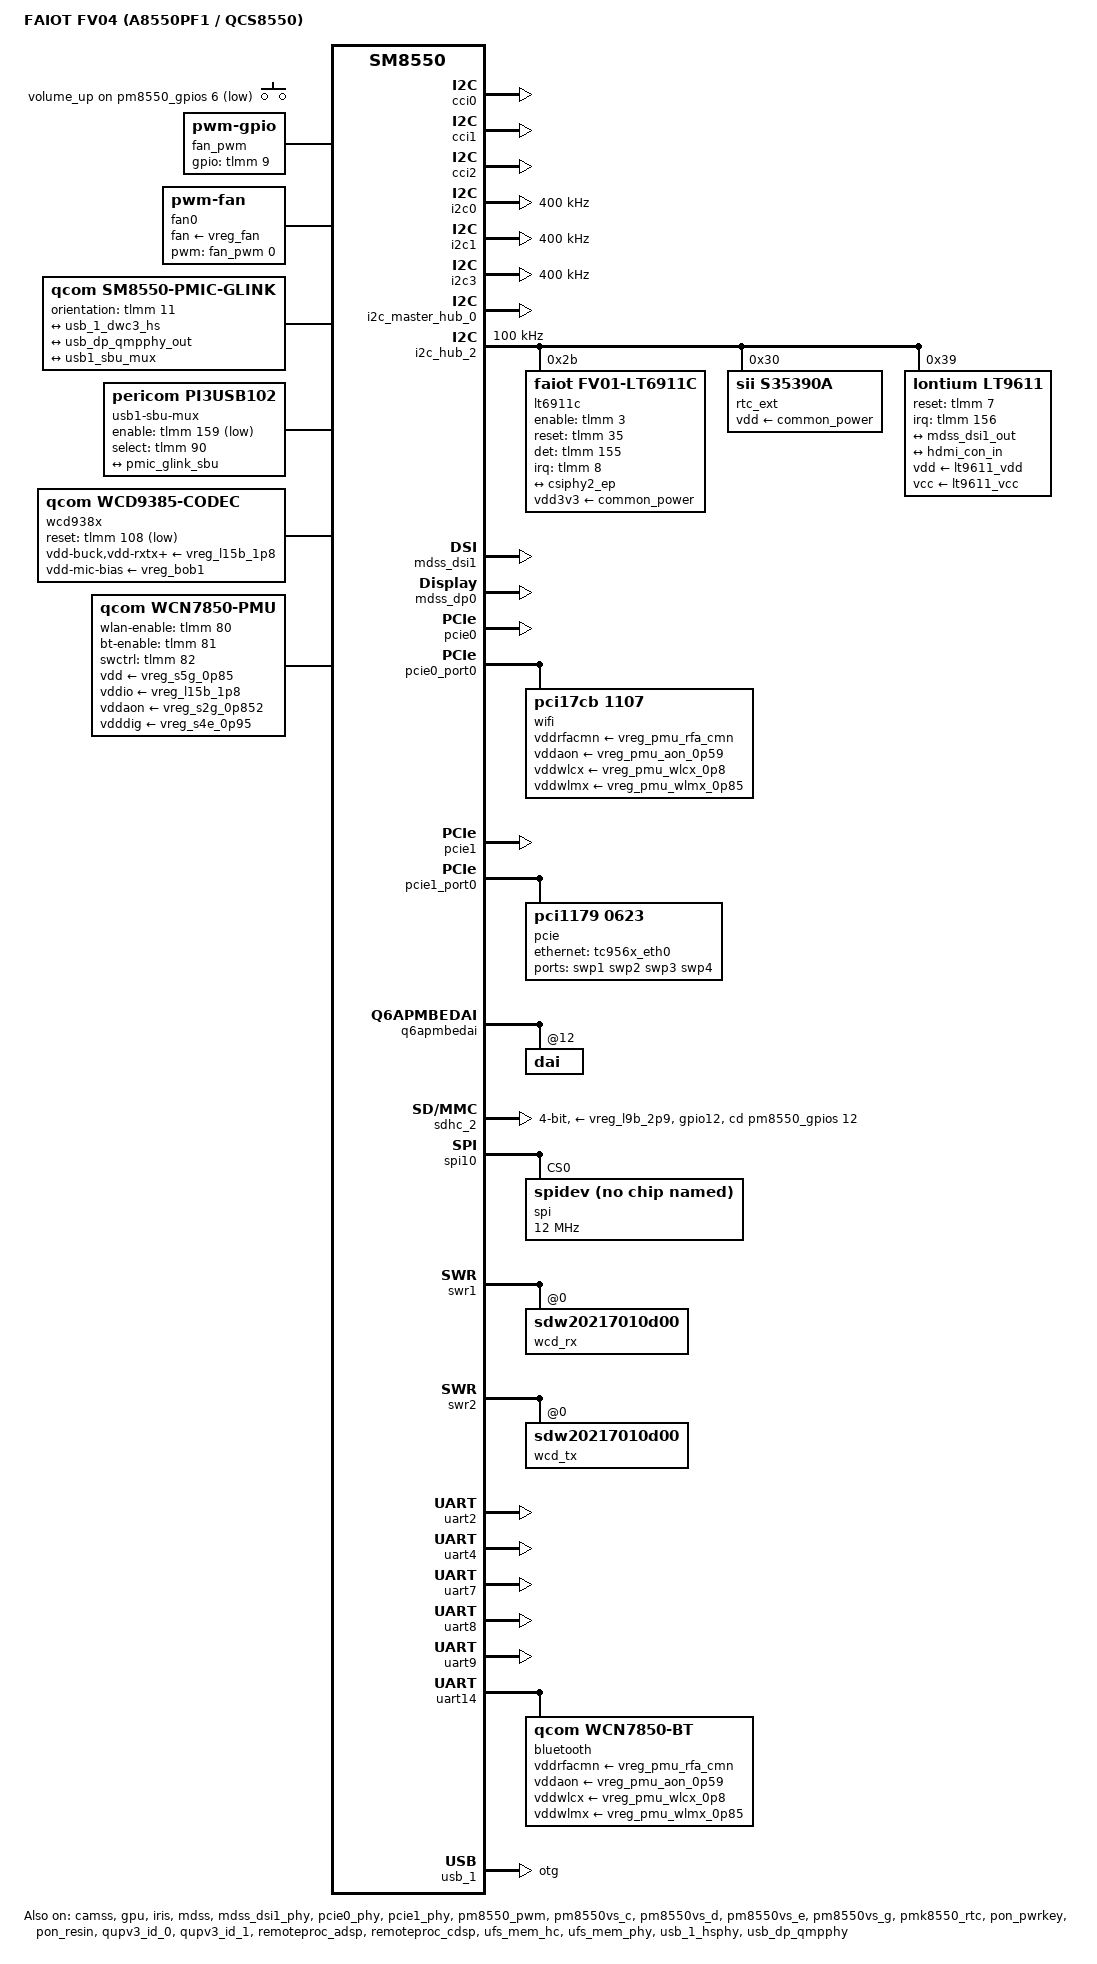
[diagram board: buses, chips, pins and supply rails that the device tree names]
// SPDX-License-Identifier: BSD-3-Clause
/*
 * Device Tree for FAIOT / AidLux FV04 (A8550PF1 bare board / A8550BF1 box)
 * based on Qualcomm QCS8550 (KalamaP, SoC ID 603 / 0x25b).
 */
/dts-v1/;

#include <dt-bindings/gpio/gpio.h>
#include <dt-bindings/input/input.h>
#include <dt-bindings/interrupt-controller/irq.h>
#include <dt-bindings/leds/common.h>
#include <dt-bindings/pinctrl/qcom,pmic-gpio.h>
#include <dt-bindings/regulator/qcom,rpmh-regulator.h>
#include "sm8550.dtsi"
#include "pm8550.dtsi"
#include "pm8550b.dtsi"
#define PMK8550VE_SID 5
#include "pm8550ve.dtsi"
#include "pm8550vs.dtsi"
#include "pmk8550.dtsi"
#include "qcom-fv-common.dtsi"
#include "fv04-memory.dtsi"
#include "fv04-regulators.dtsi"

/ {
	model = "FAIOT FV04 (A8550PF1 / QCS8550)";
	compatible = "faiot,fv04", "qcom,qcs8550", "qcom,sm8550";

	qcom,msm-id = <0x25b 0x20000>;
	qcom,board-id = <0x1001f 0x0>;

	aliases {
		serial0 = &uart7;
		serial1 = &uart14;
		serial2 = &uart2;
		serial3 = &uart4;
		serial4 = &uart8;
		serial5 = &uart9;
		mmc0 = &sdhc_2;
		rtc0 = &rtc_ext;
		rtc1 = &pmk8550_rtc;
	};

	chosen {
		stdout-path = "serial0:115200n8";
	};

	gpio-keys {
		compatible = "gpio-keys";
		label = "gpio-keys";

		pinctrl-names = "default";
		pinctrl-0 = <&volume_up_n>;

		key-volume-up {
			label = "volume_up";
			linux,code = <KEY_VOLUMEUP>;
			gpios = <&pm8550_gpios 6 GPIO_ACTIVE_LOW>;
			debounce-interval = <15>;
			linux,can-disable;
			wakeup-source;
		};
	};

	fan_pwm: pwm-fan-gpio {
		compatible = "pwm-gpio";
		gpios = <&tlmm 9 GPIO_ACTIVE_HIGH>;
		pinctrl-names = "default";
		pinctrl-0 = <&fan_pwm_default>;
		#pwm-cells = <3>;
	};

	fan0: pwm-fan {
		compatible = "pwm-fan";
		pwms = <&fan_pwm 0 1000000 0>;
		fan-supply = <&vreg_fan>;
		#cooling-cells = <2>;
		cooling-levels = <0 51 102 153 204 255>;
	};

	/*
	 * Carrier M.2 Key-M & TC9563 downstream PERST# / PHY tuning sequencer.
	 * Applies FV04's factory TC9563 SerDes/switch register updates over
	 * I2C 0x77 once PCIe1 exits PERST#, releases GPIO1+GPIO2 PERST#
	 * (mask 0x6: Renesas USB3 + M.2 Key-M NVMe), and rescans Buses 03..05.
	 */
	m2-power-ctrl {
		compatible = "faiot,fv04-m2-power-ctrl";
		pinctrl-names = "default";
		pinctrl-0 = <&qps615_wol_default>;
		tc9563-i2c = <&i2c_hub_2 0x77>;
		ep-reset-gpio-mask = <0x6>;
		tc9563-reg-update = <0x82c030 0x1>,
				    <0x828000 0x3>,
				    <0x82bd00 0x8>,
				    <0x82c030 0x2>,
				    <0x828000 0x3>,
				    <0x82bd00 0x8>,
				    <0x82c030 0x8>,
				    <0x828000 0x1>,
				    <0x82bd00 0x8>,
				    <0x82c01c 0x10>,
				    <0x82c030 0xf>,
				    <0x828000 0xf>,
				    <0x82b268 0x2>;
		tc9563-switch-reg-update = <0x82c02c 0x7>,
					   <0x824a10 0x1>,
					   <0x82c030 0x8>,
					   <0x828000 0x1>,
					   <0x82b074 0x20>,
					   <0x82b2bc 0x1>;
	};

	pmic-glink {
		compatible = "qcom,sm8550-pmic-glink", "qcom,pmic-glink";
		#address-cells = <1>;
		#size-cells = <0>;
		orientation-gpios = <&tlmm 11 GPIO_ACTIVE_HIGH>;
		pinctrl-names = "default";
		pinctrl-0 = <&typec_orient_default>;

		connector@0 {
			compatible = "usb-c-connector";
			reg = <0>;
			power-role = "dual";
			data-role = "dual";

			ports {
				#address-cells = <1>;
				#size-cells = <0>;

				port@0 {
					reg = <0>;

					pmic_glink_hs_in: endpoint {
						remote-endpoint = <&usb_1_dwc3_hs>;
					};
				};

				port@1 {
					reg = <1>;

					pmic_glink_ss_in: endpoint {
						remote-endpoint = <&usb_dp_qmpphy_out>;
					};
				};

				port@2 {
					reg = <2>;

					pmic_glink_sbu: endpoint {
						remote-endpoint = <&usb1_sbu_mux>;
					};
				};
			};
		};
	};

	usb1-sbu-mux {
		compatible = "pericom,pi3usb102", "gpio-sbu-mux";

		enable-gpios = <&tlmm 159 GPIO_ACTIVE_LOW>;
		select-gpios = <&tlmm 90 GPIO_ACTIVE_HIGH>;

		pinctrl-names = "default";
		pinctrl-0 = <&typec_sbu_default>;

		mode-switch;
		orientation-switch;

		port {
			usb1_sbu_mux: endpoint {
				remote-endpoint = <&pmic_glink_sbu>;
			};
		};
	};

	wcd938x: audio-codec {
		compatible = "qcom,wcd9385-codec";

		pinctrl-names = "default";
		pinctrl-0 = <&wcd_default>;

		qcom,micbias1-microvolt = <1800000>;
		qcom,micbias2-microvolt = <1800000>;
		qcom,micbias3-microvolt = <1800000>;
		qcom,micbias4-microvolt = <1800000>;
		qcom,mbhc-buttons-vthreshold-microvolt = <75000 150000 237000 500000 500000 500000 500000 500000>;
		qcom,mbhc-headset-vthreshold-microvolt = <1700000>;
		qcom,mbhc-headphone-vthreshold-microvolt = <50000>;
		qcom,rx-device = <&wcd_rx>;
		qcom,tx-device = <&wcd_tx>;

		reset-gpios = <&tlmm 108 GPIO_ACTIVE_LOW>;

		vdd-buck-supply = <&vreg_l15b_1p8>;
		vdd-rxtx-supply = <&vreg_l15b_1p8>;
		vdd-io-supply = <&vreg_l15b_1p8>;
		vdd-mic-bias-supply = <&vreg_bob1>;

		#sound-dai-cells = <1>;
	};

	sound {
		compatible = "qcom,sm8550-sndcard", "qcom,sm8450-sndcard";
		model = "QCS8550-FV04";
		pinctrl-names = "default";
		pinctrl-0 = <&sec_mi2s_active>;
		audio-routing = "IN1_HPHL", "HPHL_OUT",
				"IN2_HPHR", "HPHR_OUT",
				"IN3_AUX", "AUX_OUT",
				"AMIC1", "MIC BIAS1",
				"AMIC2", "MIC BIAS2",
				"AMIC3", "MIC BIAS3",
				"AMIC4", "MIC BIAS3",
				"AMIC5", "MIC BIAS4",
				"TX SWR_INPUT0", "ADC1_OUTPUT",
				"TX SWR_INPUT1", "ADC2_OUTPUT",
				"TX SWR_INPUT0", "ADC3_OUTPUT",
				"TX SWR_INPUT1", "ADC4_OUTPUT";

		wcd-playback-dai-link {
			link-name = "WCD Playback";

			cpu {
				sound-dai = <&q6apmbedai RX_CODEC_DMA_RX_0>;
			};

			codec {
				sound-dai = <&wcd938x 0>, <&swr1 0>, <&lpass_rxmacro 0>;
			};

			platform {
				sound-dai = <&q6apm>;
			};
		};

		wcd-capture-dai-link {
			link-name = "WCD Capture";

			cpu {
				sound-dai = <&q6apmbedai TX_CODEC_DMA_TX_3>;
			};

			codec {
				sound-dai = <&wcd938x 1>, <&swr2 0>, <&lpass_txmacro 0>;
			};

			platform {
				sound-dai = <&q6apm>;
			};
		};

		hdmi-playback-dai-link {
			link-name = "HDMI Playback";

			cpu {
				sound-dai = <&q6apmbedai SECONDARY_MI2S_RX>;
			};

			codec {
				sound-dai = <&lt9611>;
			};

			platform {
				sound-dai = <&q6apm>;
			};
		};

		displayport-0-dai-link {
			link-name = "DisplayPort0 Playback";

			cpu {
				sound-dai = <&q6apmbedai DISPLAY_PORT_RX_0>;
			};

			codec {
				sound-dai = <&mdss_dp0>;
			};

			platform {
				sound-dai = <&q6apm>;
			};
		};
	};

	wcn7850-pmu {
		compatible = "qcom,wcn7850-pmu";

		pinctrl-names = "default";
		pinctrl-0 = <&wlan_en>, <&bt_default>, <&sw_ctrl_default>,
			    <&pmk8550_sleep_clk>;

		wlan-enable-gpios = <&tlmm 80 GPIO_ACTIVE_HIGH>;
		bt-enable-gpios = <&tlmm 81 GPIO_ACTIVE_HIGH>;
		swctrl-gpios = <&tlmm 82 GPIO_ACTIVE_HIGH>;

		vdd-supply = <&vreg_s5g_0p85>;
		vddio-supply = <&vreg_l15b_1p8>;
		vddaon-supply = <&vreg_s2g_0p852>;
		vdddig-supply = <&vreg_s4e_0p95>;
		vddrfa1p2-supply = <&vreg_s4g_1p25>;
		vddrfa1p8-supply = <&vreg_s6g_1p86>;

		regulators {
			vreg_pmu_rfa_cmn: ldo0 {
				regulator-name = "vreg_pmu_rfa_cmn";
			};

			vreg_pmu_aon_0p59: ldo1 {
				regulator-name = "vreg_pmu_aon_0p59";
			};

			vreg_pmu_wlcx_0p8: ldo2 {
				regulator-name = "vreg_pmu_wlcx_0p8";
			};

			vreg_pmu_wlmx_0p85: ldo3 {
				regulator-name = "vreg_pmu_wlmx_0p85";
			};

			vreg_pmu_btcmx_0p85: ldo4 {
				regulator-name = "vreg_pmu_btcmx_0p85";
			};

			vreg_pmu_rfa_0p8: ldo5 {
				regulator-name = "vreg_pmu_rfa_0p8";
			};

			vreg_pmu_rfa_1p2: ldo6 {
				regulator-name = "vreg_pmu_rfa_1p2";
			};

			vreg_pmu_rfa_1p8: ldo7 {
				regulator-name = "vreg_pmu_rfa_1p8";
			};

			vreg_pmu_pcie_0p9: ldo8 {
				regulator-name = "vreg_pmu_pcie_0p9";
			};

			vreg_pmu_pcie_1p8: ldo9 {
				regulator-name = "vreg_pmu_pcie_1p8";
			};
		};
	};

	thermal-zones {
		/delete-node/ cpuss0-thermal;

		/*
		 * Expose CPU subsystem sensor (tsens0 ch1) under the canonical
		 * "cpu-thermal" name so standard Linux monitors detect CPU temp.
		 */
		cpu-thermal {
			polling-delay-passive = <0>;
			polling-delay = <0>;
			thermal-sensors = <&tsens0 1>;

			trips {
				reset-mon-config {
					temperature = <115000>;
					hysteresis = <5000>;
					type = "passive";
				};

				thermal-engine-config {
					temperature = <125000>;
					hysteresis = <1000>;
					type = "critical";
				};
			};
		};

		cpuss1-thermal {
			polling-delay-passive = <250>;
			polling-delay = <1000>;

			trips {
				cpuss1_fan_t0: fan-trip0 {
					temperature = <35000>;
					hysteresis = <10000>;
					type = "active";
				};

				cpuss1_fan_t1: fan-trip1 {
					temperature = <60000>;
					hysteresis = <5000>;
					type = "active";
				};

				cpuss1_fan_t2: fan-trip2 {
					temperature = <70000>;
					hysteresis = <5000>;
					type = "active";
				};

				cpuss1_fan_t3: fan-trip3 {
					temperature = <80000>;
					hysteresis = <5000>;
					type = "active";
				};

				cpuss1_fan_t4: fan-trip4 {
					temperature = <90000>;
					hysteresis = <5000>;
					type = "active";
				};
			};

			cooling-maps {
				map-fan0 {
					trip = <&cpuss1_fan_t0>;
					cooling-device = <&fan0 1 1>;
				};

				map-fan1 {
					trip = <&cpuss1_fan_t1>;
					cooling-device = <&fan0 2 2>;
				};

				map-fan2 {
					trip = <&cpuss1_fan_t2>;
					cooling-device = <&fan0 3 3>;
				};

				map-fan3 {
					trip = <&cpuss1_fan_t3>;
					cooling-device = <&fan0 4 4>;
				};

				map-fan4 {
					trip = <&cpuss1_fan_t4>;
					cooling-device = <&fan0 5 5>;
				};
			};
		};

		xo-thermal {
			thermal-sensors = <&pmk8550_vadc ADC5_GEN3_AMUX1_THM_100K_PU(0)>;

			trips {
				trip-point0 {
					temperature = <125000>;
					hysteresis = <1000>;
					type = "passive";
				};
			};
		};

		skin-msm-thermal {
			thermal-sensors = <&pmk8550_vadc ADC5_GEN3_AMUX1_THM_100K_PU(1)>;

			trips {
				trip-point0 {
					temperature = <125000>;
					hysteresis = <1000>;
					type = "passive";
				};
			};
		};

		wlan-thermal {
			thermal-sensors = <&pmk8550_vadc ADC5_GEN3_AMUX3_THM_100K_PU(1)>;

			trips {
				trip-point0 {
					temperature = <125000>;
					hysteresis = <1000>;
					type = "passive";
				};
			};
		};

		usb-thermal {
			thermal-sensors = <&pmk8550_vadc ADC5_GEN3_AMUX4_THM_100K_PU(7)>;

			trips {
				trip-point0 {
					temperature = <125000>;
					hysteresis = <1000>;
					type = "passive";
				};
			};
		};
	};
};

&camss {
	vdda-phy-supply = <&vreg_l1e_0p88>;
	vdda-pll-supply = <&vreg_l3e_1p2>;
	status = "okay";

	ports {
		port@2 {
			reg = <2>;
			#address-cells = <1>;
			#size-cells = <0>;

			csiphy2_ep: endpoint@0 {
				reg = <0>;
				clock-lanes = <7>;
				data-lanes = <0 1 2 3>;
				remote-endpoint = <&lt6911c_ep>;
			};
		};
	};
};

&cci0 {
	status = "okay";
};

&cci1 {
	status = "okay";
};

&cci2 {
	status = "okay";
};

&crypto {
	status = "disabled";
};

&cryptobam {
	status = "disabled";
};

&gpi_dma1 {
	status = "okay";
};

&gpi_dma2 {
	status = "okay";
};

&hdmi_con_in {
	remote-endpoint = <&lt9611_out>;
};

&gpu {
	status = "okay";
};

&gpu_zap_shader {
	firmware-name = "qcom/qcs8550/a740_zap.mbn";
};

&i2c0 {
	clock-frequency = <400000>;
	/delete-property/ dmas;
	/delete-property/ dma-names;
	status = "okay";
};

&i2c1 {
	clock-frequency = <400000>;
	/delete-property/ dmas;
	/delete-property/ dma-names;
	status = "okay";
};

&i2c3 {
	clock-frequency = <400000>;
	/delete-property/ dmas;
	/delete-property/ dma-names;
	status = "okay";
};

&i2c_master_hub_0 {
	status = "okay";
};

&i2c_hub_2 {
	clock-frequency = <100000>;
	status = "okay";

	lt6911c: hdmi-bridge@2b {
		compatible = "faiot,fv01-lt6911c", "lontium,lt6911uxc";
		reg = <0x2b>;
		vdd3v3-supply = <&common_power>;
		enable-gpios = <&tlmm 3 GPIO_ACTIVE_HIGH>;
		reset-gpios = <&tlmm 35 GPIO_ACTIVE_HIGH>;
		det-gpios = <&tlmm 155 GPIO_ACTIVE_HIGH>;
		irq-gpios = <&tlmm 8 GPIO_ACTIVE_HIGH>;
		pinctrl-names = "default";
		pinctrl-0 = <&lt6911c_default>;

		port {
			lt6911c_ep: endpoint {
				bus-type = <4>;
				data-lanes = <1 2 3 4>;
				link-frequencies = /bits/ 64 <297000000 148500000 594000000>;
				remote-endpoint = <&csiphy2_ep>;
			};
		};
	};

	rtc_ext: rtc@30 {
		compatible = "sii,s35390a";
		reg = <0x30>;
		vdd-supply = <&common_power>;
	};

	lt9611: hdmi-bridge@39 {
		compatible = "lontium,lt9611";
		reg = <0x39>;
		vdd-supply = <&lt9611_vdd>;
		vcc-supply = <&lt9611_vcc>;
		reset-gpios = <&tlmm 7 GPIO_ACTIVE_HIGH>;
		interrupts-extended = <&tlmm 156 IRQ_TYPE_EDGE_FALLING>;
		pinctrl-names = "default";
		pinctrl-0 = <&lt9611_rst_default>, <&lt9611_irq_default>;
		#sound-dai-cells = <0>;

		ports {
			#address-cells = <1>;
			#size-cells = <0>;

			port@0 {
				reg = <0>;

				lt9611_in: endpoint {
					remote-endpoint = <&mdss_dsi1_out>;
				};
			};

			port@2 {
				reg = <2>;

				lt9611_out: endpoint {
					remote-endpoint = <&hdmi_con_in>;
				};
			};
		};
	};
};

/*
 * QCS8550 is a Wi-Fi-only IoT/compute variant without a cellular modem (MPSS).
 * Keep IPA and modem SMP2P disabled so 3f40000.ipa does not block qnoc-sm8550
 * sync_state(), while retaining rmtfs_mem's no-map carveout without probing a
 * platform device.
 */
/ {
	smp2p-modem {
		status = "disabled";
	};
};

&ipa {
	status = "disabled";
};

&rmtfs_mem {
	/delete-property/ compatible;
};

&iris {
	firmware-name = "qcom/qcs8550/vpu30_4v.mbn";
	status = "okay";
};

&mdss {
	status = "okay";
};

&mdss_dsi1 {
	vdda-supply = <&vreg_l3e_1p2>;
	status = "okay";
};

&mdss_dsi1_out {
	remote-endpoint = <&lt9611_in>;
	data-lanes = <0 1 2 3>;
};

&mdss_dsi1_phy {
	vdds-supply = <&vreg_l1e_0p88>;
	status = "okay";
};

&mdss_dp0 {
	status = "okay";
};

&pcie0 {
	wake-gpios = <&tlmm 96 GPIO_ACTIVE_HIGH>;
	perst-gpios = <&tlmm 94 GPIO_ACTIVE_LOW>;

	pinctrl-0 = <&pcie0_default_state>;
	pinctrl-names = "default";

	iommu-map = <0x0 &apps_smmu 0x1400 0x1>,
		    <0x100 &apps_smmu 0x1401 0x1>;

	/delete-property/ msi-map;

	status = "okay";
};

&pcie0_phy {
	vdda-phy-supply = <&vreg_l1e_0p88>;
	vdda-pll-supply = <&vreg_l3e_1p2>;

	status = "okay";
};

&pcie0_port0 {
	wifi@0 {
		compatible = "pci17cb,1107";
		reg = <0x10000 0x0 0x0 0x0 0x0>;

		vddrfacmn-supply = <&vreg_pmu_rfa_cmn>;
		vddaon-supply = <&vreg_pmu_aon_0p59>;
		vddwlcx-supply = <&vreg_pmu_wlcx_0p8>;
		vddwlmx-supply = <&vreg_pmu_wlmx_0p85>;
		vddrfa0p8-supply = <&vreg_pmu_rfa_0p8>;
		vddrfa1p2-supply = <&vreg_pmu_rfa_1p2>;
		vddrfa1p8-supply = <&vreg_pmu_rfa_1p8>;
		vddpcie0p9-supply = <&vreg_pmu_pcie_0p9>;
		vddpcie1p8-supply = <&vreg_pmu_pcie_1p8>;
	};
};

&pcie1 {
	vddpe-3v3-supply = <&usb_hub_rest_vreg>;

	wake-gpios = <&tlmm 99 GPIO_ACTIVE_HIGH>;
	perst-gpios = <&tlmm 97 GPIO_ACTIVE_LOW>;

	pinctrl-0 = <&pcie1_default_state>;
	pinctrl-names = "default";

	iommu-map = <0x0 &apps_smmu 0x1480 0x1>,
		    <0x100 &apps_smmu 0x1481 0x1>,
		    <0x208 &apps_smmu 0x1482 0x1>,
		    <0x210 &apps_smmu 0x1483 0x1>,
		    <0x218 &apps_smmu 0x1484 0x1>,
		    <0x300 &apps_smmu 0x1487 0x1>,
		    <0x400 &apps_smmu 0x1488 0x1>,
		    <0x500 &apps_smmu 0x148c 0x1>,
		    <0x501 &apps_smmu 0x148e 0x1>;

	/delete-property/ msi-map;

	status = "okay";
};

&pcie1_phy {
	vdda-phy-supply = <&vreg_l3c_0p9>;
	vdda-pll-supply = <&vreg_l3e_1p2>;
	vdda-qref-supply = <&vreg_l1e_0p88>;

	status = "okay";
};

&pcie1_port0 {
	pcie@0,0 {
		compatible = "pci1179,0623";
		reg = <0x10000 0x0 0x0 0x0 0x0>;
		#address-cells = <3>;
		#size-cells = <2>;
		device_type = "pci";
		ranges;
		bus-range = <0x2 0xff>;

		/* DSP1 -> Bus 03: M.2 Key-M 2280 NVMe SSD */
		pcie@1,0 {
			reg = <0x20800 0x0 0x0 0x0 0x0>;
			#address-cells = <3>;
			#size-cells = <2>;
			device_type = "pci";
			ranges;
			bus-range = <0x3 0x3>;
		};

		/* DSP2 -> Bus 04: Renesas uPD720201 USB 3.0 xHCI */
		pcie@2,0 {
			reg = <0x21000 0x0 0x0 0x0 0x0>;
			#address-cells = <3>;
			#size-cells = <2>;
			device_type = "pci";
			ranges;
			bus-range = <0x4 0x4>;
		};

		/* DSP3 -> Bus 05: Toshiba TC956x MAC0 + QCA8337 5x GbE DSA */
		pcie@3,0 {
			reg = <0x21800 0x0 0x0 0x0 0x0>;
			#address-cells = <3>;
			#size-cells = <2>;
			device_type = "pci";
			ranges;
			bus-range = <0x5 0xff>;

			tc956x_eth0: ethernet@0,0 {
				compatible = "pci1179,0220";
				reg = <0x50000 0x0 0x0 0x0 0x0>;
				phy-mode = "sgmii";

				fixed-link {
					speed = <1000>;
					full-duplex;
				};

				mdio {
					#address-cells = <1>;
					#size-cells = <0>;

					switch@10 {
						compatible = "qca,qca8337";
						reg = <0x10>;

						mdio {
							#address-cells = <1>;
							#size-cells = <0>;

							qca8337_phy0: ethernet-phy@0 {
								reg = <0>;
							};

							qca8337_phy1: ethernet-phy@1 {
								reg = <1>;
							};

							qca8337_phy2: ethernet-phy@2 {
								reg = <2>;
							};

							qca8337_phy3: ethernet-phy@3 {
								reg = <3>;
							};

							qca8337_phy4: ethernet-phy@4 {
								reg = <4>;
							};
						};

						ports {
							#address-cells = <1>;
							#size-cells = <0>;

							port@0 {
								reg = <0>;
								ethernet = <&tc956x_eth0>;
								phy-mode = "sgmii";
								qca,sgmii-rxclk-falling-edge;
								qca,sgmii-enable-pll;

								fixed-link {
									speed = <1000>;
									full-duplex;
								};
							};

							port@1 {
								reg = <1>;
								label = "swp1";
								phy-handle = <&qca8337_phy0>;
								phy-mode = "internal";

								leds {
									#address-cells = <1>;
									#size-cells = <0>;

									led@0 {
										reg = <0>;
										color = <LED_COLOR_ID_AMBER>;
										function = LED_FUNCTION_WAN;
										default-state = "keep";
										linux,default-trigger = "netdev";
									};

									led@1 {
										reg = <1>;
										color = <LED_COLOR_ID_GREEN>;
										function = LED_FUNCTION_WAN;
										default-state = "keep";
										linux,default-trigger = "netdev";
									};
								};
							};

							port@2 {
								reg = <2>;
								label = "swp2";
								phy-handle = <&qca8337_phy1>;
								phy-mode = "internal";

								leds {
									#address-cells = <1>;
									#size-cells = <0>;

									led@0 {
										reg = <0>;
										color = <LED_COLOR_ID_AMBER>;
										function = LED_FUNCTION_LAN;
										default-state = "keep";
										linux,default-trigger = "netdev";
									};

									led@1 {
										reg = <1>;
										color = <LED_COLOR_ID_GREEN>;
										function = LED_FUNCTION_LAN;
										default-state = "keep";
										linux,default-trigger = "netdev";
									};
								};
							};

							/* Unwired internal PHY2 (no physical RJ45 jack on FV04) */
							port@3 {
								reg = <3>;
								phy-handle = <&qca8337_phy2>;
								phy-mode = "internal";
								status = "disabled";
							};

							port@4 {
								reg = <4>;
								label = "swp3";
								phy-handle = <&qca8337_phy3>;
								phy-mode = "internal";

								leds {
									#address-cells = <1>;
									#size-cells = <0>;

									led@0 {
										reg = <0>;
										color = <LED_COLOR_ID_AMBER>;
										function = LED_FUNCTION_LAN;
										default-state = "keep";
										linux,default-trigger = "netdev";
									};

									led@1 {
										reg = <1>;
										color = <LED_COLOR_ID_GREEN>;
										function = LED_FUNCTION_LAN;
										default-state = "keep";
										linux,default-trigger = "netdev";
									};
								};
							};

							port@5 {
								reg = <5>;
								label = "swp4";
								phy-handle = <&qca8337_phy4>;
								phy-mode = "internal";

								leds {
									#address-cells = <1>;
									#size-cells = <0>;

									led@0 {
										reg = <0>;
										color = <LED_COLOR_ID_AMBER>;
										function = LED_FUNCTION_LAN;
										default-state = "keep";
										linux,default-trigger = "netdev";
									};

									led@1 {
										reg = <1>;
										color = <LED_COLOR_ID_GREEN>;
										function = LED_FUNCTION_LAN;
										default-state = "keep";
										linux,default-trigger = "netdev";
									};
								};
							};
						};
					};
				};
			};

			ethernet@0,1 {
				compatible = "pci1179,0220";
				reg = <0x50100 0x0 0x0 0x0 0x0>;
				status = "disabled";
			};
		};
	};
};

&pm8550_gpios {
	sdc2_card_det_n: sdc2-card-det-state {
		pins = "gpio12";
		function = "normal";
		input-enable;
		output-disable;
		bias-pull-up;
		power-source = <1>;
	};

	volume_up_n: volume-up-n-state {
		pins = "gpio6";
		function = "normal";
		power-source = <1>;
		bias-pull-up;
		input-enable;
	};
};

/*
 * Status RGB LEDs matching FV04 /etc/rc.local sysfs paths
 * (/sys/class/leds/{red,green,blue}/{brightness,breath}).
 */
&pm8550_pwm {
	#address-cells = <1>;
	#size-cells = <0>;
	status = "okay";

	led@1 {
		reg = <1>;
		label = "red";
		color = <LED_COLOR_ID_RED>;
		default-state = "off";
	};

	led@2 {
		reg = <2>;
		label = "green";
		color = <LED_COLOR_ID_GREEN>;
		default-state = "off";
	};

	led@3 {
		reg = <3>;
		label = "blue";
		color = <LED_COLOR_ID_BLUE>;
		default-state = "off";
	};
};

&pm8550_temp_alarm {
	io-channels = <&pmk8550_vadc ADC5_GEN3_DIE_TEMP(1)>;
	io-channel-names = "thermal";
};

&pm8550b_eusb2_repeater {
	vdd18-supply = <&vreg_l15b_1p8>;
	vdd3-supply = <&vreg_l5b_3p1>;
};

&pm8550b_temp_alarm {
	io-channels = <&pmk8550_vadc ADC5_GEN3_DIE_TEMP(7)>;
	io-channel-names = "thermal";
};

&pm8550vs_c {
	status = "okay";
};

&pm8550vs_c_temp_alarm {
	io-channels = <&pmk8550_vadc ADC5_GEN3_DIE_TEMP(2)>;
	io-channel-names = "thermal";
};

&pm8550vs_d {
	status = "okay";
};

&pm8550vs_d_temp_alarm {
	io-channels = <&pmk8550_vadc ADC5_GEN3_DIE_TEMP(3)>;
	io-channel-names = "thermal";
};

&pm8550vs_e {
	status = "okay";
};

&pm8550vs_e_temp_alarm {
	io-channels = <&pmk8550_vadc ADC5_GEN3_DIE_TEMP(4)>;
	io-channel-names = "thermal";
};

&pm8550vs_g {
	status = "okay";
};

&pm8550vs_g_temp_alarm {
	io-channels = <&pmk8550_vadc ADC5_GEN3_DIE_TEMP(6)>;
	io-channel-names = "thermal";
};

&pm8550ve_temp_alarm {
	io-channels = <&pmk8550_vadc ADC5_GEN3_DIE_TEMP(PMK8550VE_SID)>;
	io-channel-names = "thermal";
};

&pmk8550_gpios {
	pmk8550_sleep_clk: sleep-clk-state {
		pins = "gpio3";
		function = "func1";
		input-disable;
		output-enable;
		bias-disable;
		power-source = <0>;
	};
};

&pmk8550_rtc {
	status = "okay";
};

&pmk8550_vadc {
	channel@44 {
		reg = <ADC5_GEN3_AMUX1_THM_100K_PU(0)>;
		label = "pmk8550_xo_therm";
		qcom,ratiometric;
		qcom,hw-settle-time = <200>;
		qcom,pre-scaling = <1 1>;
		qcom,adc-tm;
	};

	channel@100 {
		reg = <ADC5_GEN3_REF_GND(1)>;
		label = "pm8550_offset_ref";
		qcom,pre-scaling = <1 1>;
	};

	channel@101 {
		reg = <ADC5_GEN3_1P25VREF(1)>;
		label = "pm8550_vref_1p25";
		qcom,pre-scaling = <1 1>;
	};

	channel@103 {
		reg = <ADC5_GEN3_DIE_TEMP(1)>;
		label = "pm8550_die_temp";
		qcom,pre-scaling = <1 1>;
	};

	channel@144 {
		reg = <ADC5_GEN3_AMUX1_THM_100K_PU(1)>;
		label = "pm8550_msm_therm";
		qcom,ratiometric;
		qcom,hw-settle-time = <200>;
		qcom,pre-scaling = <1 1>;
		qcom,adc-tm;
	};

	channel@146 {
		reg = <ADC5_GEN3_AMUX3_THM_100K_PU(1)>;
		label = "pm8550_wlan_therm";
		qcom,ratiometric;
		qcom,hw-settle-time = <200>;
		qcom,pre-scaling = <1 1>;
		qcom,adc-tm;
	};

	channel@18e {
		reg = <ADC5_GEN3_VPH_PWR(1)>;
		label = "pm8550_vph_pwr";
		qcom,pre-scaling = <1 3>;
	};

	channel@203 {
		reg = <ADC5_GEN3_DIE_TEMP(2)>;
		label = "pm8550vs_c_die_temp";
		qcom,pre-scaling = <1 1>;
	};

	channel@303 {
		reg = <ADC5_GEN3_DIE_TEMP(3)>;
		label = "pm8550vs_d_die_temp";
		qcom,pre-scaling = <1 1>;
	};

	channel@403 {
		reg = <ADC5_GEN3_DIE_TEMP(4)>;
		label = "pm8550vs_e_die_temp";
		qcom,pre-scaling = <1 1>;
	};

	channel@503 {
		reg = <ADC5_GEN3_DIE_TEMP(PMK8550VE_SID)>;
		label = "pm8550ve_die_temp";
		qcom,pre-scaling = <1 1>;
	};

	channel@603 {
		reg = <ADC5_GEN3_DIE_TEMP(6)>;
		label = "pm8550vs_g_die_temp";
		qcom,pre-scaling = <1 1>;
	};

	channel@700 {
		reg = <ADC5_GEN3_REF_GND(7)>;
		label = "pm8550b_offset_ref";
		qcom,pre-scaling = <1 1>;
	};

	channel@701 {
		reg = <ADC5_GEN3_1P25VREF(7)>;
		label = "pm8550b_vref_1p25";
		qcom,pre-scaling = <1 1>;
	};

	channel@703 {
		reg = <ADC5_GEN3_DIE_TEMP(7)>;
		label = "pm8550b_die_temp";
		qcom,pre-scaling = <1 1>;
	};

	channel@747 {
		reg = <ADC5_GEN3_AMUX4_THM_100K_PU(7)>;
		label = "pm8550b_usb_therm";
		qcom,ratiometric;
		qcom,hw-settle-time = <200>;
		qcom,pre-scaling = <1 1>;
		qcom,adc-tm;
	};

	channel@78e {
		reg = <ADC5_GEN3_VPH_PWR(7)>;
		label = "pm8550b_vph_pwr";
		qcom,pre-scaling = <1 3>;
	};
};

&pon_pwrkey {
	status = "okay";
};

&pon_resin {
	linux,code = <KEY_VOLUMEDOWN>;
	wakeup-source;
	status = "okay";
};

&q6apmbedai {
	#address-cells = <1>;
	#size-cells = <0>;

	dai@12 {
		reg = <SECONDARY_MI2S_RX>;
		clocks = <&q6prmcc LPASS_CLK_ID_SEC_MI2S_IBIT LPASS_CLK_ATTRIBUTE_COUPLE_NO>;
		clock-names = "bclk";
	};
};

&qupv3_id_0 {
	status = "okay";
};

&qupv3_id_1 {
	status = "okay";
};

&remoteproc_adsp {
	firmware-name = "qcom/qcs8550/adsp.mbn",
			"qcom/qcs8550/adsp_dtb.mbn";
	status = "okay";
};

&remoteproc_cdsp {
	firmware-name = "qcom/qcs8550/cdsp.mbn",
			"qcom/qcs8550/cdsp_dtb.mbn";
	status = "okay";
};

&scm {
	/*
	 * Omit qcom,dload-mode so a transient fastboot-boot panic warm-reboots
	 * cleanly back into the factory Ubuntu boot_a image (preserving ramoops)
	 * rather than trapping into USB 900E Sahara RamDump mode.
	 */
	/delete-property/ qcom,dload-mode;
};

&sdhc_2 {
	cd-gpios = <&pm8550_gpios 12 GPIO_ACTIVE_HIGH>;

	pinctrl-0 = <&sdc2_default>, <&sdc2_card_det_n>;
	pinctrl-1 = <&sdc2_sleep>, <&sdc2_card_det_n>;
	pinctrl-names = "default", "sleep";

	vmmc-supply = <&vreg_l9b_2p9>;
	vqmmc-supply = <&vreg_l8b_1p8>;

	bus-width = <4>;
	no-sdio;
	no-mmc;

	status = "okay";
};

&sleep_clk {
	clock-frequency = <32764>;
};

&spi6 {
	/delete-property/ dmas;
	/delete-property/ dma-names;
};

&spi10 {
	pinctrl-names = "default";
	pinctrl-0 = <&qup_spi10_data_clk>, <&qup_spi10_cs>;
	/delete-property/ dmas;
	/delete-property/ dma-names;
	status = "okay";

	spi@0 {
		compatible = "rohm,dh2228fv";
		reg = <0>;
		spi-max-frequency = <12000000>;
	};
};

&swr1 {
	status = "okay";

	wcd_rx: codec@0,4 {
		compatible = "sdw20217010d00";
		reg = <0 4>;
		qcom,rx-port-mapping = <1 2 3 4 5>;
	};
};

&swr2 {
	status = "okay";

	wcd_tx: codec@0,3 {
		compatible = "sdw20217010d00";
		reg = <0 3>;
		qcom,tx-port-mapping = <2 2 3 4>;
	};
};

&tlmm {
	/*
	 * Note: Unlike SM8550 HDK / RB5Gen2, FV04 does NOT reserve GPIOs 32..39
	 * for NFC — GPIO34 controls qps615_0p9_vreg and GPIO35 resets LT6911C.
	 */
	usb_hub_rest_default: usb-hub-rest-default-state {
		pins = "gpio2";
		function = "gpio";
		drive-strength = <2>;
		bias-pull-down;
	};

	modem_1p8_1_default: modem-1p8-1-default-state {
		pins = "gpio4";
		function = "gpio";
		drive-strength = <2>;
		bias-pull-up;
	};

	lt9611_rst_default: lt9611-rst-default-state {
		pins = "gpio7";
		function = "gpio";
		drive-strength = <2>;
		bias-disable;
	};

	fan_pwm_default: fan-pwm-default-state {
		pins = "gpio9";
		function = "gpio";
		drive-strength = <2>;
		bias-pull-up;
	};

	common_power_default: common-power-default-state {
		pins = "gpio10";
		function = "gpio";
		drive-strength = <2>;
		bias-pull-up;
	};

	typec_orient_default: typec-orient-default-state {
		pins = "gpio11";
		function = "gpio";
		bias-disable;
	};

	lt9611_1v8_default: lt9611-1v8-default-state {
		pins = "gpio13";
		function = "gpio";
		drive-strength = <2>;
		bias-disable;
	};

	modem_rest_default: modem-rest-default-state {
		pins = "gpio18";
		function = "gpio";
		drive-strength = <2>;
		bias-pull-down;
	};

	qps615_0p9_default: qps615-0p9-default-state {
		pins = "gpio34";
		function = "gpio";
		drive-strength = <2>;
		bias-pull-up;
	};

	fan_pwr_default: fan-pwr-default-state {
		pins = "gpio43";
		function = "gpio";
		drive-strength = <2>;
		bias-pull-up;
	};

	lt9611_3v3_default: lt9611-3v3-default-state {
		pins = "gpio52";
		function = "gpio";
		drive-strength = <2>;
		bias-disable;
	};

	qps615_1p8_default: qps615-1p8-default-state {
		pins = "gpio55";
		function = "gpio";
		drive-strength = <2>;
		bias-pull-up;
	};

	qps615_wol_default: qps615-wol-default-state {
		pins = "gpio72", "gpio73";
		function = "gpio";
		input-enable;
		bias-disable;
	};

	wlan_en: wlan-en-state {
		pins = "gpio80";
		function = "gpio";
		drive-strength = <8>;
		bias-pull-down;
	};

	bt_default: bt-default-state {
		pins = "gpio81";
		function = "gpio";
		drive-strength = <16>;
		bias-disable;
	};

	sw_ctrl_default: sw-ctrl-default-state {
		pins = "gpio82";
		function = "gpio";
		bias-pull-down;
	};

	modem_1p8_2_default: modem-1p8-2-default-state {
		pins = "gpio87";
		function = "gpio";
		drive-strength = <2>;
		bias-pull-up;
	};

	qca8337_led_default: qca8337-led-default-state {
		pins = "gpio93";
		function = "gpio";
		drive-strength = <2>;
		bias-pull-up;
	};

	typec_sbu_default: typec-sbu-default-state {
		pins = "gpio90", "gpio159";
		function = "gpio";
		drive-strength = <2>;
		bias-disable;
	};

	wcd_default: wcd-reset-n-active-state {
		pins = "gpio108";
		function = "gpio";
		drive-strength = <16>;
		bias-disable;
		output-low;
	};

	sec_mi2s_active: sec-mi2s-active-state {
		sck-pins {
			pins = "gpio121";
			function = "i2s1_sck";
			drive-strength = <8>;
			bias-disable;
		};

		data0-pins {
			pins = "gpio122";
			function = "i2s1_data0";
			drive-strength = <8>;
			bias-disable;
		};

		ws-pins {
			pins = "gpio123";
			function = "i2s1_ws";
			drive-strength = <8>;
			bias-disable;
		};

		data1-pins {
			pins = "gpio124";
			function = "i2s1_data1";
			drive-strength = <8>;
			bias-disable;
		};
	};

	lt6911c_default: lt6911c-default-state {
		out-pins {
			pins = "gpio3", "gpio35";
			function = "gpio";
			drive-strength = <2>;
			bias-disable;
		};

		in-pins {
			pins = "gpio8", "gpio155";
			function = "gpio";
			drive-strength = <2>;
			bias-disable;
		};
	};

	lt9611_irq_default: lt9611-irq-default-state {
		pins = "gpio156";
		function = "gpio";
		drive-strength = <2>;
		bias-disable;
	};
};

&uart2 {
	status = "okay";
};

&uart4 {
	status = "okay";
};

&uart7 {
	status = "okay";
};

&uart8 {
	status = "okay";
};

&uart9 {
	status = "okay";
};

&uart14 {
	status = "okay";

	bluetooth {
		compatible = "qcom,wcn7850-bt";

		vddrfacmn-supply = <&vreg_pmu_rfa_cmn>;
		vddaon-supply = <&vreg_pmu_aon_0p59>;
		vddwlcx-supply = <&vreg_pmu_wlcx_0p8>;
		vddwlmx-supply = <&vreg_pmu_wlmx_0p85>;
		vddrfa0p8-supply = <&vreg_pmu_rfa_0p8>;
		vddrfa1p2-supply = <&vreg_pmu_rfa_1p2>;
		vddrfa1p8-supply = <&vreg_pmu_rfa_1p8>;

		max-speed = <3200000>;
	};
};

&ufs_mem_hc {
	reset-gpios = <&tlmm 210 GPIO_ACTIVE_LOW>;
	vcc-supply = <&vreg_l17b_2p5>;
	vcc-max-microamp = <1300000>;
	vccq-supply = <&vreg_l1g_1p2>;
	vccq-max-microamp = <1200000>;
	vdd-hba-supply = <&vreg_l3g_1p2>;

	status = "okay";
};

&ufs_mem_phy {
	vdda-phy-supply = <&vreg_l1d_0p88>;
	vdda-pll-supply = <&vreg_l3e_1p2>;
	vdda-qref-supply = <&vreg_l1e_0p88>;

	status = "okay";
};

&usb_1 {
	dr_mode = "otg";
	role-switch-default-mode = "peripheral";
	status = "okay";
};

&usb_1_dwc3_hs {
	remote-endpoint = <&pmic_glink_hs_in>;
};

&usb_1_hsphy {
	vdd-supply = <&vreg_l1e_0p88>;
	vdda12-supply = <&vreg_l3e_1p2>;
	phys = <&pm8550b_eusb2_repeater>;

	status = "okay";
};

&usb_dp_qmpphy {
	vdda-phy-supply = <&vreg_l3f_0p88>;
	vdda-pll-supply = <&vreg_l3e_1p2>;

	status = "okay";
};

&usb_dp_qmpphy_out {
	remote-endpoint = <&pmic_glink_ss_in>;
};

&xo_board {
	clock-frequency = <76800000>;
};
